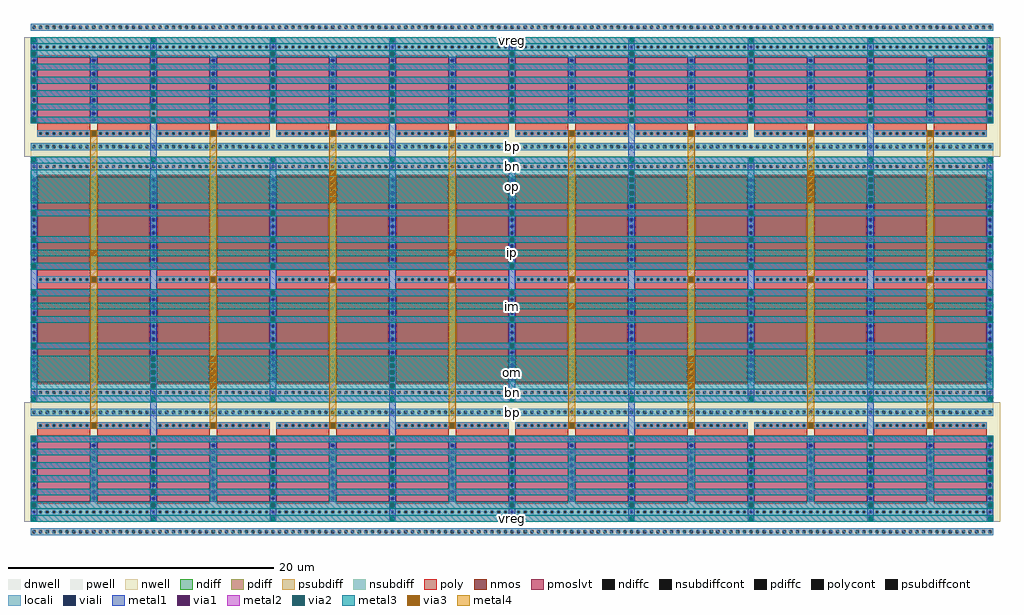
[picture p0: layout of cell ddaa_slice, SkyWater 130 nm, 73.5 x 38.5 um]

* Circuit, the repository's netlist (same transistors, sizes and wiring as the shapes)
* NGSPICE file created from ddaa_slice.ext - technology: sky130A

.subckt inv1p1 in out bp bn vreg vss vsub
X0 vreg in out bp sky130_fd_pr__pfet_01v8_lvt ad=2.5 pd=11 as=1.25 ps=5.5 w=5 l=4
X1 out in vreg bp sky130_fd_pr__pfet_01v8_lvt ad=1.25 pd=5.5 as=2.5 ps=11 w=5 l=4
X2 out in xt bn sky130_fd_pr__nfet_01v8 ad=3.5 pd=15 as=1.75 ps=7.5 w=7 l=4
X3 out in xb bn sky130_fd_pr__nfet_01v8 ad=3.5 pd=15 as=1.75 ps=7.5 w=7 l=4
X4 out in vreg bp sky130_fd_pr__pfet_01v8_lvt ad=1.25 pd=5.5 as=2.5 ps=11 w=5 l=4
X5 xt in vss bn sky130_fd_pr__nfet_01v8 ad=1.75 pd=7.5 as=3.5 ps=15 w=7 l=4
X6 vreg in out bp sky130_fd_pr__pfet_01v8_lvt ad=2.5 pd=11 as=1.25 ps=5.5 w=5 l=4
X7 xb in vss bn sky130_fd_pr__nfet_01v8 ad=1.75 pd=7.5 as=3.5 ps=15 w=7 l=4
.ends

.subckt ddaa_slice ip im op om bp bn vreg vss vsub
Xa0 ip om bp bn vreg vss vsub inv1p1
Xa1 om om bp bn vreg vss vsub inv1p1
Xa2 op om bp bn vreg vss vsub inv1p1
Xa3 ip om bp bn vreg vss vsub inv1p1
Xa4 im op bp bn vreg vss vsub inv1p1
Xa5 om op bp bn vreg vss vsub inv1p1
Xa6 op op bp bn vreg vss vsub inv1p1
Xa7 im op bp bn vreg vss vsub inv1p1
.ends

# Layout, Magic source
magic
tech sky130A
<< pwell >>
rect 2300 2500 2350 2750
rect 4550 2500 4600 2750
rect 5900 2500 5950 2750
rect 6350 2500 6400 2750
rect 500 2100 550 2150
rect 3200 2100 3250 2150
rect 4100 1700 4150 1750
rect 6800 1700 6850 1750
rect 950 1200 1000 1350
rect 1400 1200 1450 1350
rect 2750 1100 2800 1350
rect 5000 1100 5050 1350
<< locali >>
rect 50 3800 7300 3850
rect 50 2900 7300 2950
rect 50 2750 7300 2800
rect 50 1050 7300 1100
rect 50 900 7300 950
rect 50 0 7300 50
<< metal1 >>
rect 4550 2740 4600 2750
rect 4550 2710 4560 2740
rect 4590 2710 4600 2740
rect 4550 2690 4600 2710
rect 4550 2660 4560 2690
rect 4590 2660 4600 2690
rect 4550 2640 4600 2660
rect 4550 2610 4560 2640
rect 4590 2610 4600 2640
rect 4550 2590 4600 2610
rect 4550 2560 4560 2590
rect 4590 2560 4600 2590
rect 4550 2540 4600 2560
rect 4550 2510 4560 2540
rect 4590 2510 4600 2540
rect 4550 2500 4600 2510
rect 6350 2740 6400 2750
rect 6350 2710 6360 2740
rect 6390 2710 6400 2740
rect 6350 2690 6400 2710
rect 6350 2660 6360 2690
rect 6390 2660 6400 2690
rect 6350 2640 6400 2660
rect 6350 2610 6360 2640
rect 6390 2610 6400 2640
rect 6350 2590 6400 2610
rect 6350 2560 6360 2590
rect 6390 2560 6400 2590
rect 6350 2540 6400 2560
rect 6350 2510 6360 2540
rect 6390 2510 6400 2540
rect 6350 2500 6400 2510
rect 950 1340 1000 1350
rect 950 1310 960 1340
rect 990 1310 1000 1340
rect 950 1290 1000 1310
rect 950 1260 960 1290
rect 990 1260 1000 1290
rect 950 1240 1000 1260
rect 950 1210 960 1240
rect 990 1210 1000 1240
rect 950 1190 1000 1210
rect 950 1160 960 1190
rect 990 1160 1000 1190
rect 950 1140 1000 1160
rect 950 1110 960 1140
rect 990 1110 1000 1140
rect 950 1100 1000 1110
rect 2750 1340 2800 1350
rect 2750 1310 2760 1340
rect 2790 1310 2800 1340
rect 2750 1290 2800 1310
rect 2750 1260 2760 1290
rect 2790 1260 2800 1290
rect 2750 1240 2800 1260
rect 2750 1210 2760 1240
rect 2790 1210 2800 1240
rect 2750 1190 2800 1210
rect 2750 1160 2760 1190
rect 2790 1160 2800 1190
rect 2750 1140 2800 1160
rect 2750 1110 2760 1140
rect 2790 1110 2800 1140
rect 2750 1100 2800 1110
<< via1 >>
rect 4560 2710 4590 2740
rect 4560 2660 4590 2690
rect 4560 2610 4590 2640
rect 4560 2560 4590 2590
rect 4560 2510 4590 2540
rect 6360 2710 6390 2740
rect 6360 2660 6390 2690
rect 6360 2610 6390 2640
rect 6360 2560 6390 2590
rect 6360 2510 6390 2540
rect 960 1310 990 1340
rect 960 1260 990 1290
rect 960 1210 990 1240
rect 960 1160 990 1190
rect 960 1110 990 1140
rect 2760 1310 2790 1340
rect 2760 1260 2790 1290
rect 2760 1210 2790 1240
rect 2760 1160 2790 1190
rect 2760 1110 2790 1140
<< metal2 >>
rect 4550 2740 4600 2750
rect 4550 2710 4560 2740
rect 4590 2710 4600 2740
rect 4550 2690 4600 2710
rect 4550 2660 4560 2690
rect 4590 2660 4600 2690
rect 4550 2640 4600 2660
rect 4550 2610 4560 2640
rect 4590 2610 4600 2640
rect 4550 2590 4600 2610
rect 4550 2560 4560 2590
rect 4590 2560 4600 2590
rect 4550 2540 4600 2560
rect 4550 2510 4560 2540
rect 4590 2510 4600 2540
rect 4550 2500 4600 2510
rect 6350 2740 6400 2750
rect 6350 2710 6360 2740
rect 6390 2710 6400 2740
rect 6350 2690 6400 2710
rect 6350 2660 6360 2690
rect 6390 2660 6400 2690
rect 6350 2640 6400 2660
rect 6350 2610 6360 2640
rect 6390 2610 6400 2640
rect 6350 2590 6400 2610
rect 6350 2560 6360 2590
rect 6390 2560 6400 2590
rect 6350 2540 6400 2560
rect 6350 2510 6360 2540
rect 6390 2510 6400 2540
rect 6350 2500 6400 2510
rect 950 1340 1000 1350
rect 950 1310 960 1340
rect 990 1310 1000 1340
rect 950 1290 1000 1310
rect 950 1260 960 1290
rect 990 1260 1000 1290
rect 950 1240 1000 1260
rect 950 1210 960 1240
rect 990 1210 1000 1240
rect 950 1190 1000 1210
rect 950 1160 960 1190
rect 990 1160 1000 1190
rect 950 1140 1000 1160
rect 950 1110 960 1140
rect 990 1110 1000 1140
rect 950 1100 1000 1110
rect 2750 1340 2800 1350
rect 2750 1310 2760 1340
rect 2790 1310 2800 1340
rect 2750 1290 2800 1310
rect 2750 1260 2760 1290
rect 2790 1260 2800 1290
rect 2750 1240 2800 1260
rect 2750 1210 2760 1240
rect 2790 1210 2800 1240
rect 2750 1190 2800 1210
rect 2750 1160 2760 1190
rect 2790 1160 2800 1190
rect 2750 1140 2800 1160
rect 2750 1110 2760 1140
rect 2790 1110 2800 1140
rect 2750 1100 2800 1110
<< via2 >>
rect 4560 2710 4590 2740
rect 4560 2660 4590 2690
rect 4560 2610 4590 2640
rect 4560 2560 4590 2590
rect 4560 2510 4590 2540
rect 6360 2710 6390 2740
rect 6360 2660 6390 2690
rect 6360 2610 6390 2640
rect 6360 2560 6390 2590
rect 6360 2510 6390 2540
rect 960 1310 990 1340
rect 960 1260 990 1290
rect 960 1210 990 1240
rect 960 1160 990 1190
rect 960 1110 990 1140
rect 2760 1310 2790 1340
rect 2760 1260 2790 1290
rect 2760 1210 2790 1240
rect 2760 1160 2790 1190
rect 2760 1110 2790 1140
<< metal3 >>
rect 50 3700 7300 3750
rect 50 2800 7300 2850
rect 50 2745 7300 2750
rect 50 2705 2305 2745
rect 2345 2740 5905 2745
rect 2345 2710 4560 2740
rect 4590 2710 5905 2740
rect 2345 2705 5905 2710
rect 5945 2740 7300 2745
rect 5945 2710 6360 2740
rect 6390 2710 7300 2740
rect 5945 2705 7300 2710
rect 50 2695 7300 2705
rect 50 2655 2305 2695
rect 2345 2690 5905 2695
rect 2345 2660 4560 2690
rect 4590 2660 5905 2690
rect 2345 2655 5905 2660
rect 5945 2690 7300 2695
rect 5945 2660 6360 2690
rect 6390 2660 7300 2690
rect 5945 2655 7300 2660
rect 50 2645 7300 2655
rect 50 2605 2305 2645
rect 2345 2640 5905 2645
rect 2345 2610 4560 2640
rect 4590 2610 5905 2640
rect 2345 2605 5905 2610
rect 5945 2640 7300 2645
rect 5945 2610 6360 2640
rect 6390 2610 7300 2640
rect 5945 2605 7300 2610
rect 50 2595 7300 2605
rect 50 2555 2305 2595
rect 2345 2590 5905 2595
rect 2345 2560 4560 2590
rect 4590 2560 5905 2590
rect 2345 2555 5905 2560
rect 5945 2590 7300 2595
rect 5945 2560 6360 2590
rect 6390 2560 7300 2590
rect 5945 2555 7300 2560
rect 50 2545 7300 2555
rect 50 2505 2305 2545
rect 2345 2540 5905 2545
rect 2345 2510 4560 2540
rect 4590 2510 5905 2540
rect 2345 2505 5905 2510
rect 5945 2540 7300 2545
rect 5945 2510 6360 2540
rect 6390 2510 7300 2540
rect 5945 2505 7300 2510
rect 50 2500 7300 2505
rect 50 2145 7300 2150
rect 50 2105 505 2145
rect 545 2105 3205 2145
rect 3245 2105 7300 2145
rect 50 2100 7300 2105
rect 50 1745 7300 1750
rect 50 1705 4105 1745
rect 4145 1705 6805 1745
rect 6845 1705 7300 1745
rect 50 1700 7300 1705
rect 50 1345 7300 1350
rect 50 1340 1405 1345
rect 50 1310 960 1340
rect 990 1310 1405 1340
rect 50 1305 1405 1310
rect 1445 1340 5005 1345
rect 1445 1310 2760 1340
rect 2790 1310 5005 1340
rect 1445 1305 5005 1310
rect 5045 1305 7300 1345
rect 50 1295 7300 1305
rect 50 1290 1405 1295
rect 50 1260 960 1290
rect 990 1260 1405 1290
rect 50 1255 1405 1260
rect 1445 1290 5005 1295
rect 1445 1260 2760 1290
rect 2790 1260 5005 1290
rect 1445 1255 5005 1260
rect 5045 1255 7300 1295
rect 50 1245 7300 1255
rect 50 1240 1405 1245
rect 50 1210 960 1240
rect 990 1210 1405 1240
rect 50 1205 1405 1210
rect 1445 1240 5005 1245
rect 1445 1210 2760 1240
rect 2790 1210 5005 1240
rect 1445 1205 5005 1210
rect 5045 1205 7300 1245
rect 50 1195 7300 1205
rect 50 1190 1405 1195
rect 50 1160 960 1190
rect 990 1160 1405 1190
rect 50 1155 1405 1160
rect 1445 1190 5005 1195
rect 1445 1160 2760 1190
rect 2790 1160 5005 1190
rect 1445 1155 5005 1160
rect 5045 1155 7300 1195
rect 50 1145 7300 1155
rect 50 1140 1405 1145
rect 50 1110 960 1140
rect 990 1110 1405 1140
rect 50 1105 1405 1110
rect 1445 1140 5005 1145
rect 1445 1110 2760 1140
rect 2790 1110 5005 1140
rect 1445 1105 5005 1110
rect 5045 1105 7300 1145
rect 50 1100 7300 1105
rect 50 1000 7300 1050
rect 50 100 7300 150
<< via3 >>
rect 2305 2705 2345 2745
rect 5905 2705 5945 2745
rect 2305 2655 2345 2695
rect 5905 2655 5945 2695
rect 2305 2605 2345 2645
rect 5905 2605 5945 2645
rect 2305 2555 2345 2595
rect 5905 2555 5945 2595
rect 2305 2505 2345 2545
rect 5905 2505 5945 2545
rect 505 2105 545 2145
rect 3205 2105 3245 2145
rect 4105 1705 4145 1745
rect 6805 1705 6845 1745
rect 1405 1305 1445 1345
rect 5005 1305 5045 1345
rect 1405 1255 1445 1295
rect 5005 1255 5045 1295
rect 1405 1205 1445 1245
rect 5005 1205 5045 1245
rect 1405 1155 1445 1195
rect 5005 1155 5045 1195
rect 1405 1105 1445 1145
rect 5005 1105 5045 1145
<< metal4 >>
rect 2300 2745 2350 2750
rect 2300 2705 2305 2745
rect 2345 2705 2350 2745
rect 2300 2695 2350 2705
rect 2300 2655 2305 2695
rect 2345 2655 2350 2695
rect 2300 2645 2350 2655
rect 2300 2605 2305 2645
rect 2345 2605 2350 2645
rect 2300 2595 2350 2605
rect 2300 2555 2305 2595
rect 2345 2555 2350 2595
rect 2300 2545 2350 2555
rect 2300 2505 2305 2545
rect 2345 2505 2350 2545
rect 2300 2500 2350 2505
rect 5900 2745 5950 2750
rect 5900 2705 5905 2745
rect 5945 2705 5950 2745
rect 5900 2695 5950 2705
rect 5900 2655 5905 2695
rect 5945 2655 5950 2695
rect 5900 2645 5950 2655
rect 5900 2605 5905 2645
rect 5945 2605 5950 2645
rect 5900 2595 5950 2605
rect 5900 2555 5905 2595
rect 5945 2555 5950 2595
rect 5900 2545 5950 2555
rect 5900 2505 5905 2545
rect 5945 2505 5950 2545
rect 5900 2500 5950 2505
rect 500 2145 550 2150
rect 500 2105 505 2145
rect 545 2105 550 2145
rect 500 2100 550 2105
rect 3200 2145 3250 2150
rect 3200 2105 3205 2145
rect 3245 2105 3250 2145
rect 3200 2100 3250 2105
rect 4100 1745 4150 1750
rect 4100 1705 4105 1745
rect 4145 1705 4150 1745
rect 4100 1700 4150 1705
rect 6800 1745 6850 1750
rect 6800 1705 6805 1745
rect 6845 1705 6850 1745
rect 6800 1700 6850 1705
rect 1400 1345 1450 1350
rect 1400 1305 1405 1345
rect 1445 1305 1450 1345
rect 1400 1295 1450 1305
rect 1400 1255 1405 1295
rect 1445 1255 1450 1295
rect 1400 1245 1450 1255
rect 1400 1205 1405 1245
rect 1445 1205 1450 1245
rect 1400 1195 1450 1205
rect 1400 1155 1405 1195
rect 1445 1155 1450 1195
rect 1400 1145 1450 1155
rect 1400 1105 1405 1145
rect 1445 1105 1450 1145
rect 1400 1100 1450 1105
rect 5000 1345 5050 1350
rect 5000 1305 5005 1345
rect 5045 1305 5050 1345
rect 5000 1295 5050 1305
rect 5000 1255 5005 1295
rect 5045 1255 5050 1295
rect 5000 1245 5050 1255
rect 5000 1205 5005 1245
rect 5045 1205 5050 1245
rect 5000 1195 5050 1205
rect 5000 1155 5005 1195
rect 5045 1155 5050 1195
rect 5000 1145 5050 1155
rect 5000 1105 5005 1145
rect 5045 1105 5050 1145
rect 5000 1100 5050 1105
use inv1p1  a0
transform 1 0 50 0 1 0
box -50 0 1000 3850
use inv1p1  a1
transform -1 0 1900 0 1 0
box -50 0 1000 3850
use inv1p1  a2
transform 1 0 1850 0 1 0
box -50 0 1000 3850
use inv1p1  a3
transform -1 0 3700 0 1 0
box -50 0 1000 3850
use inv1p1  a4
transform 1 0 3650 0 1 0
box -50 0 1000 3850
use inv1p1  a5
transform -1 0 5500 0 1 0
box -50 0 1000 3850
use inv1p1  a6
transform 1 0 5450 0 1 0
box -50 0 1000 3850
use inv1p1  a7
transform -1 0 7300 0 1 0
box -50 0 1000 3850
<< labels >>
rlabel metal3 50 2100 7300 2150 0 ip
port 1 nsew
rlabel metal3 50 1700 7300 1750 0 im
port 2 nsew
rlabel metal3 50 2500 7300 2750 0 op
port 5 nsew
rlabel metal3 50 1100 7300 1350 0 om
port 6 nsew
rlabel locali 50 2900 7300 2950 0 bp
port 7 nsew
rlabel locali 50 900 7300 950 0 bp
port 7 nsew
rlabel locali 50 2750 7300 2800 0 bn
port 8 nsew
rlabel locali 50 1050 7300 1100 0 bn
port 8 nsew
rlabel metal3 50 3700 7300 3750 0 vreg
port 9 nsew
rlabel metal3 50 100 7300 150 0 vreg
port 9 nsew
rlabel metal3 50 2800 7300 2850 0 vss
port 10 nsew
rlabel metal3 50 1000 7300 1050 0 vss
port 10 nsew
rlabel locali 50 3800 7300 3850 0 vsub
port 11 nsew
rlabel locali 50 0 7300 50 0 vsub
port 11 nsew
<< end >>

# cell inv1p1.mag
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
